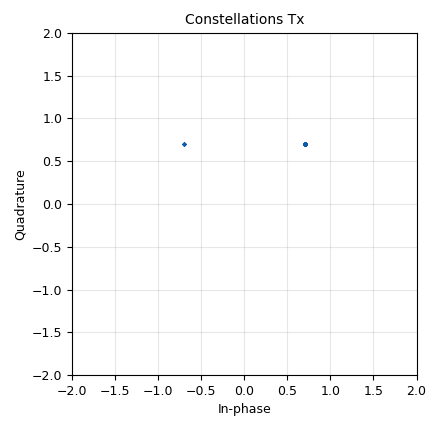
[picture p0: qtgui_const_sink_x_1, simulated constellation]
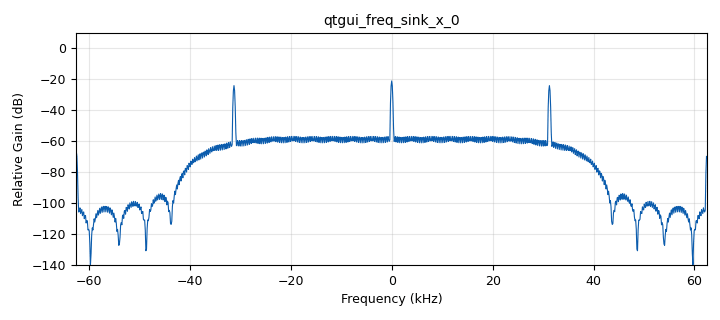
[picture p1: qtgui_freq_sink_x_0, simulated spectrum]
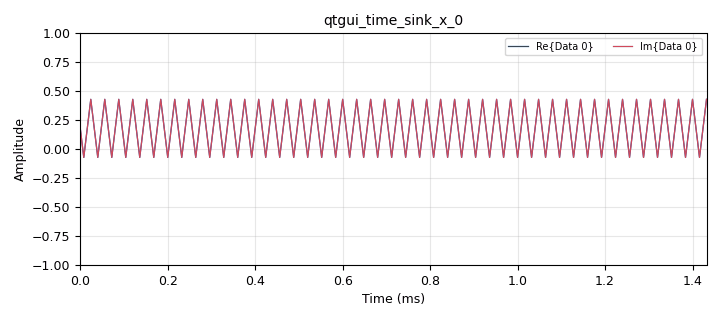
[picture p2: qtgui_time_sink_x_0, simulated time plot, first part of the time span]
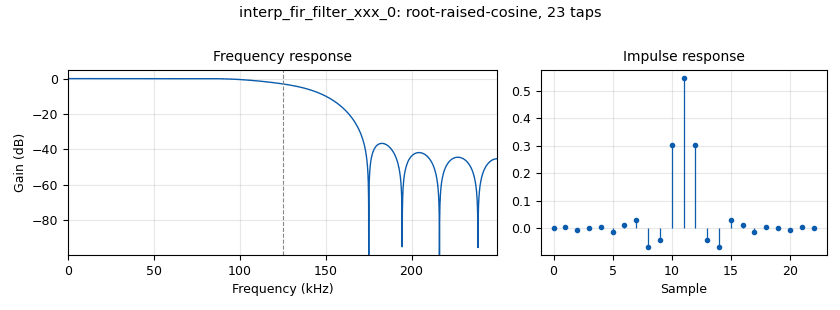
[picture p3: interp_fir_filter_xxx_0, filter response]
options:
  parameters:
    author: root
    generate_options: qt_gui
    id: test
    output_language: python
    title: Not titled yet
  states: {}

blocks:
- name: arity
  id: variable
  parameters:
    value: '4'
  states: {}
- name: bits_per_chunk
  id: variable
  parameters:
    value: int(math.log2(arity))
  states: {}
- name: bits_per_symbol
  id: variable
  parameters:
    value: math.log2(arity)
  states: {}
- name: chunks_per_byte
  id: variable
  parameters:
    value: int(8/bits_per_chunk)
  states: {}
- name: delay
  id: variable_qtgui_range
  parameters:
    gui_hint: 1,0,1,1
    label: Delay
    start: '0'
    step: '1'
    stop: '200'
    value: '1'
  states: {}
- name: eq_gain
  id: variable_qtgui_range
  parameters:
    gui_hint: 'controls@1: 0,1,1,1'
    label: 'Equalizer: rate'
    start: '0.0'
    step: '0.001'
    stop: '0.1'
    value: '0.01'
    widget: slider
  states: {}
- name: freq_offset
  id: variable_qtgui_range
  parameters:
    gui_hint: 'controls@0: 0,1,1,1'
    label: Frequency Offset
    start: '-0.1'
    step: '0.001'
    stop: '0.1'
    value: '0'
  states: {}
- name: nfilts
  id: variable
  parameters:
    value: '32'
  states: {}
- name: noise_volt
  id: variable_qtgui_range
  parameters:
    gui_hint: 'controls@0: 0,0,1,1'
    label: Noise Voltage
    start: '0'
    step: '0.01'
    stop: '1'
    value: '0.0001'
  states: {}
- name: phase_bw
  id: variable_qtgui_range
  parameters:
    gui_hint: 'controls@1: 0,2,1,1'
    label: 'Phase: Bandwidth'
    start: '0.0'
    step: '0.01'
    stop: '1.0'
    value: 6.28/100.0
    widget: slider
  states: {}
- name: qpsk
  id: variable_constellation_rect
  parameters:
    const_points: '[0.707+0.707j, -0.707+0.707j, -0.707-0.707j, 0.707-0.707j]'
    imag_sect: '2'
    real_sect: '2'
    rot_sym: '4'
    sym_map: '[0, 1, 2, 3]'
    w_imag_sect: '1'
    w_real_sect: '1'
  states: {}
- name: rf_freq
  id: variable
  parameters:
    value: 2500e6
  states: {}
- name: rrc_interpolation
  id: variable
  parameters:
    value: '4'
  states: {}
- name: rrc_taps
  id: variable_rrc_filter_taps
  parameters:
    alpha: '0.35'
    gain: '1.0'
    ntaps: 11*sps
    samp_rate: samp_rate * 4
    sym_rate: samp_rate * 4 / sps
  states: {}
- name: rrc_taps_rx
  id: variable
  parameters:
    value: firdes.root_raised_cosine(nfilts, nfilts, 1.0/float(sps), 0.35, 11*sps*nfilts)
  states: {}
- name: samp_rate
  id: variable
  parameters:
    value: int(2e6 / 16)
  states: {}
- name: sps
  id: variable
  parameters:
    value: '2'
  states: {}
- name: taps
  id: variable
  parameters:
    value: '[1.0, 0.25-0.25j, 0.50 + 0.10j, -0.3 + 0.2j]'
  states: {}
- name: time_offset
  id: variable_qtgui_range
  parameters:
    gui_hint: 'controls@0: 0,2,1,1'
    label: Timing Offset
    start: '0.999'
    step: '0.0001'
    stop: '1.001'
    value: '1.00'
  states: {}
- name: timing_loop_bw
  id: variable_qtgui_range
  parameters:
    gui_hint: 'controls@1: 0,0,1,1'
    label: 'Time: BW'
    start: '0.0'
    step: '0.01'
    stop: '0.2'
    value: 6.28/100.0
    widget: slider
  states: {}
- name: variable_adaptive_algorithm_0
  id: variable_adaptive_algorithm
  parameters:
    cons: qpsk
    modulus: '4'
    step_size: '100e-6'
    type: cma
  states: {}
- name: analog_random_source_x_0
  id: analog_random_source_x
  parameters:
    max: '256'
    min: '0'
    num_samps: '1000'
    repeat: 'True'
    type: byte
  states: {state: disabled}
- name: bladeRF_sink_0
  id: bladeRF_sink
  parameters:
    bias_tee0: 'True'
    bias_tee1: 'False'
    bw: '200000'
    dac: '10000'
    dc_calibration: LPF_TUNING
    device_id: '0'
    fpga_image: ''
    fpga_reload: 'False'
    freq: rf_freq
    gain0: '10'
    gain1: '10'
    if_gain0: '20'
    if_gain1: '20'
    in_clk: ONBOARD
    lpf_mode: disabled
    metadata: 'False'
    nchan: '1'
    out_clk: 'False'
    ref_clk: 10e6
    sample_rate: samp_rate * chunks_per_byte * rrc_interpolation
    sampling: internal
    show_pmic: 'False'
    smb: '0'
    tamer: internal
    trigger0: 'False'
    trigger1: 'False'
    trigger_role0: master
    trigger_role1: master
    trigger_signal0: J51_1
    trigger_signal1: J51_1
    use_dac: 'False'
    use_ref_clk: 'False'
    verbosity: verbose
    xb200: none
  states: {}
- name: blocks_packed_to_unpacked_xx_0
  id: blocks_packed_to_unpacked_xx
  parameters:
    bits_per_chunk: bits_per_chunk
    comment: |-
      2M chunks (symbols) per sec
      samp_rate * chunks_per_byte
      samp_rate is 500 K
      chunks_per_byte is 4
    endianness: gr.GR_MSB_FIRST
    type: byte
  states: {}
- name: blocks_vector_source_x_0
  id: blocks_vector_source_x
  parameters:
    repeat: 'True'
    type: byte
    vector: 20*[0,]+[1,]+[0]
  states: {}
- name: controls
  id: qtgui_tab_widget
  parameters:
    gui_hint: 0,0,1,2
    label0: Channel
    label1: Receiver
    num_tabs: '2'
  states: {}
- name: digital_chunks_to_symbols_xx_0
  id: digital_chunks_to_symbols_xx
  parameters:
    dimension: '1'
    in_type: byte
    out_type: complex
    symbol_table: '[0.707+0.707j, -0.707+0.707j, -0.707-0.707j, 0.707-0.707j]'
  states: {}
- name: import_0
  id: import
  parameters:
    imports: import math
  states: {}
- name: interp_fir_filter_xxx_0
  id: interp_fir_filter_xxx
  parameters:
    comment: |-
      8M sample per sec
      samp_rate * chunks_per_byte * Interpolation
      500K         * 4                        * 4
    interp: '4'
    taps: rrc_taps
    type: ccc
  states: {}
- name: note_0
  id: note
  parameters:
    note: 1 samp_rate
  states: {}
- name: note_0_0
  id: note
  parameters:
    note: 4 samp_rate
  states: {}
- name: note_0_0_0
  id: note
  parameters:
    note: 4 samp_rate
  states: {}
- name: note_0_0_0_0
  id: note
  parameters:
    note: 16 samp_rate
  states: {}
- name: qtgui_const_sink_x_1
  id: qtgui_const_sink_x
  parameters:
    name: '"Constellations Tx"'
    size: '1024'
    type: complex
  states: {}
- name: qtgui_freq_sink_x_0
  id: qtgui_freq_sink_x
  parameters:
    bw: samp_rate
    fc: '0'
    fftsize: '1024'
    type: complex
  states: {}
- name: qtgui_time_sink_x_0
  id: qtgui_time_sink_x
  parameters:
    size: '1024'
    srate: samp_rate
    type: complex
  states: {}
- name: virtual_sink_0
  id: virtual_sink
  parameters:
    comment: samp_rate
    stream_id: bytes_in
  states: {}
- name: virtual_sink_1
  id: virtual_sink
  parameters:
    stream_id: transmitted_signal
  states: {}
- name: virtual_source_0
  id: virtual_source
  parameters:
    stream_id: transmitted_signal
  states: {}
- name: virtual_source_0_0
  id: virtual_source
  parameters:
    comment: samp_rate
    stream_id: bytes_in
  states: {}

connections:
- [analog_random_source_x_0, '0', virtual_sink_0, '0']
- [blocks_packed_to_unpacked_xx_0, '0', digital_chunks_to_symbols_xx_0, '0']
- [blocks_vector_source_x_0, '0', virtual_sink_0, '0']
- [digital_chunks_to_symbols_xx_0, '0', interp_fir_filter_xxx_0, '0']
- [digital_chunks_to_symbols_xx_0, '0', qtgui_const_sink_x_1, '0']
- [interp_fir_filter_xxx_0, '0', virtual_sink_1, '0']
- [virtual_source_0, '0', bladeRF_sink_0, '0']
- [virtual_source_0, '0', qtgui_freq_sink_x_0, '0']
- [virtual_source_0, '0', qtgui_time_sink_x_0, '0']
- [virtual_source_0_0, '0', blocks_packed_to_unpacked_xx_0, '0']

metadata:
  file_format: 1
  grc_version: 3.10.5.1
